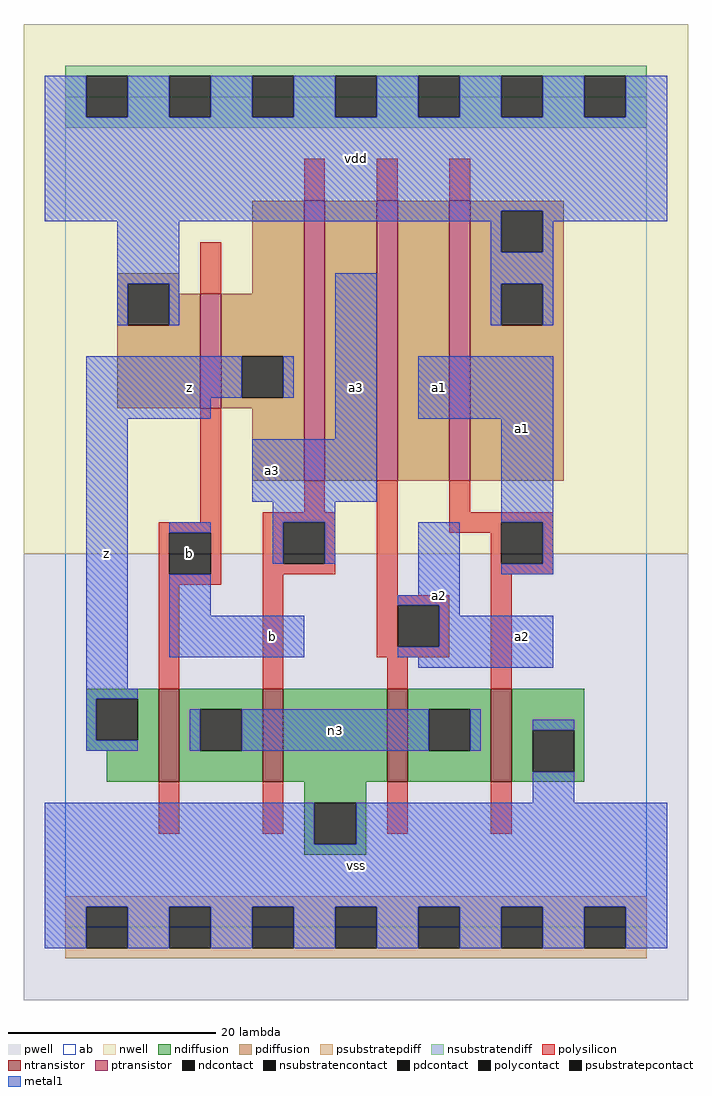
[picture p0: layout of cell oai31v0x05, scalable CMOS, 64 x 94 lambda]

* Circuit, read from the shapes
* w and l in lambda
.subckt oai31v0x05 a1 a2 a3 b n3 vdd vss z
M1 n3 b z vss nfet w=9 l=2
M2 vss a3 n3 vss nfet w=9 l=2
M3 n3 a2 vss vss nfet w=9 l=2
M4 vss a1 n3 vss nfet w=9 l=2
M5 z b vdd vdd pfet w=11 l=2
M6 n1 a3 z vdd pfet w=27 l=2
M7 n2 a2 n1 vdd pfet w=27 l=2
M8 vdd a1 n2 vdd pfet w=27 l=2
.ends

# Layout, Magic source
magic
tech scmos
<< ab >>
rect 0 0 56 80
<< pwell >>
rect -4 -7 60 36
<< nwell >>
rect -4 36 60 87
<< polysilicon >>
rect 23 70 25 74
rect 30 70 32 74
rect 37 70 39 74
rect 13 61 15 66
rect 13 39 15 50
rect 23 40 25 43
rect 9 38 15 39
rect 9 34 10 38
rect 14 34 15 38
rect 9 33 15 34
rect 19 39 26 40
rect 19 35 21 39
rect 25 35 26 39
rect 19 34 26 35
rect 9 23 11 33
rect 19 23 21 34
rect 30 32 32 43
rect 37 40 39 43
rect 37 39 47 40
rect 37 38 42 39
rect 41 35 42 38
rect 46 35 47 39
rect 41 34 47 35
rect 30 31 37 32
rect 30 27 32 31
rect 36 27 37 31
rect 30 26 37 27
rect 31 23 33 26
rect 41 23 43 34
rect 9 9 11 14
rect 19 9 21 14
rect 31 9 33 14
rect 41 9 43 14
<< ndiffusion >>
rect 2 22 9 23
rect 2 18 3 22
rect 7 18 9 22
rect 2 17 9 18
rect 4 14 9 17
rect 11 21 19 23
rect 11 17 13 21
rect 17 17 19 21
rect 11 14 19 17
rect 21 14 31 23
rect 33 21 41 23
rect 33 17 35 21
rect 39 17 41 21
rect 33 14 41 17
rect 43 19 50 23
rect 43 15 45 19
rect 49 15 50 19
rect 43 14 50 15
rect 23 12 29 14
rect 23 8 24 12
rect 28 8 29 12
rect 23 7 29 8
<< pdiffusion >>
rect 5 62 11 63
rect 5 58 6 62
rect 10 61 11 62
rect 18 61 23 70
rect 10 58 13 61
rect 5 50 13 58
rect 15 55 23 61
rect 15 51 17 55
rect 21 51 23 55
rect 15 50 23 51
rect 18 43 23 50
rect 25 43 30 70
rect 32 43 37 70
rect 39 69 48 70
rect 39 65 42 69
rect 46 65 48 69
rect 39 62 48 65
rect 39 58 42 62
rect 46 58 48 62
rect 39 43 48 58
<< metal1 >>
rect -2 78 2 82
rect 6 78 10 82
rect 14 78 18 82
rect 22 78 26 82
rect 30 78 34 82
rect 38 78 42 82
rect 46 78 50 82
rect 54 78 58 82
rect -2 69 58 78
rect -2 68 42 69
rect 5 62 11 68
rect 41 65 42 68
rect 46 68 58 69
rect 46 65 47 68
rect 5 58 6 62
rect 10 58 11 62
rect 2 51 17 55
rect 21 51 22 55
rect 2 49 14 51
rect 2 23 6 49
rect 26 47 30 63
rect 41 62 47 65
rect 41 58 42 62
rect 46 58 47 62
rect 34 49 47 55
rect 18 41 30 47
rect 20 39 26 41
rect 42 39 47 49
rect 10 38 14 39
rect 20 35 21 39
rect 25 35 26 39
rect 10 30 14 34
rect 34 32 38 39
rect 46 35 47 39
rect 42 34 47 35
rect 32 31 38 32
rect 10 26 23 30
rect 36 30 38 31
rect 36 27 47 30
rect 32 26 47 27
rect 34 25 47 26
rect 2 22 7 23
rect 2 18 3 22
rect 2 17 7 18
rect 12 17 13 21
rect 17 17 35 21
rect 39 17 40 21
rect 45 19 49 20
rect 45 12 49 15
rect -2 8 24 12
rect 28 8 58 12
rect -2 2 58 8
rect -2 -2 2 2
rect 6 -2 10 2
rect 14 -2 18 2
rect 22 -2 26 2
rect 30 -2 34 2
rect 38 -2 42 2
rect 46 -2 50 2
rect 54 -2 58 2
<< ntransistor >>
rect 9 14 11 23
rect 19 14 21 23
rect 31 14 33 23
rect 41 14 43 23
<< ptransistor >>
rect 13 50 15 61
rect 23 43 25 70
rect 30 43 32 70
rect 37 43 39 70
<< polycontact >>
rect 10 34 14 38
rect 21 35 25 39
rect 42 35 46 39
rect 32 27 36 31
<< ndcontact >>
rect 3 18 7 22
rect 13 17 17 21
rect 35 17 39 21
rect 45 15 49 19
rect 24 8 28 12
<< pdcontact >>
rect 6 58 10 62
rect 17 51 21 55
rect 42 65 46 69
rect 42 58 46 62
<< psubstratepcontact >>
rect 2 -2 6 2
rect 10 -2 14 2
rect 18 -2 22 2
rect 26 -2 30 2
rect 34 -2 38 2
rect 42 -2 46 2
rect 50 -2 54 2
<< nsubstratencontact >>
rect 2 78 6 82
rect 10 78 14 82
rect 18 78 22 82
rect 26 78 30 82
rect 34 78 38 82
rect 42 78 46 82
rect 50 78 54 82
<< psubstratepdiff >>
rect 0 2 56 3
rect 0 -2 2 2
rect 6 -2 10 2
rect 14 -2 18 2
rect 22 -2 26 2
rect 30 -2 34 2
rect 38 -2 42 2
rect 46 -2 50 2
rect 54 -2 56 2
rect 0 -3 56 -2
<< nsubstratendiff >>
rect 0 82 56 83
rect 0 78 2 82
rect 6 78 10 82
rect 14 78 18 82
rect 22 78 26 82
rect 30 78 34 82
rect 38 78 42 82
rect 46 78 50 82
rect 54 78 56 82
rect 0 77 56 78
<< labels >>
rlabel metal1 4 36 4 36 6 z
rlabel polycontact 12 36 12 36 6 b
rlabel metal1 20 28 20 28 6 b
rlabel metal1 20 44 20 44 6 a3
rlabel metal1 12 52 12 52 6 z
rlabel metal1 28 6 28 6 6 vss
rlabel metal1 26 19 26 19 6 n3
rlabel metal1 36 32 36 32 6 a2
rlabel metal1 28 52 28 52 6 a3
rlabel metal1 36 52 36 52 6 a1
rlabel metal1 28 74 28 74 6 vdd
rlabel metal1 44 28 44 28 6 a2
rlabel metal1 44 48 44 48 6 a1
<< end >>
